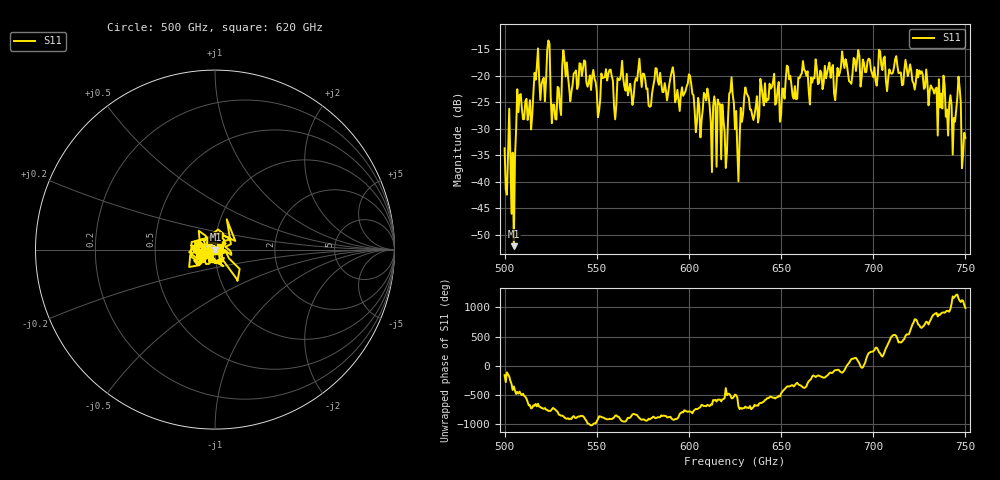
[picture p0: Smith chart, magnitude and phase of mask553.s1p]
!Created with skrf (http://scikit-rf.org).
# GHz S MA R 50.0
!freq magS11 angS11
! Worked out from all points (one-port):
!   401 points, 500 GHz to 750 GHz, reference 50 ohm
!   lowest |S11| = -52.1 dB at 505 GHz (marker M1), VSWR 1.00, Z = 50.2 + j0.0228 ohm
!   |S11| at or under -10 dB: start of sweep to end of sweep
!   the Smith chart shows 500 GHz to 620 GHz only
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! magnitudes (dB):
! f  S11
! 500 GHz  -33.7
! 505 GHz  -52.1
! 508.1 GHz  -23.6
! 513.8 GHz  -24.6
! 516.9 GHz  -20.7
! 523.8 GHz  -13.4
! 526.9 GHz  -25.4
! 531.2 GHz  -18.2
! 542.5 GHz  -18.7
! 550.6 GHz  -27.8
! 562.5 GHz  -20.8
! 578.8 GHz  -25.9
! 590.6 GHz  -19.3
! 593.8 GHz  -22.7
! 600 GHz  -19.7
! 605 GHz  -24.2
! 609.4 GHz  -24.7
! 620 GHz  -37.4
! 623.1 GHz  -20.3
! 625 GHz  -30.1
! 626.2 GHz  -33.9
! 631.2 GHz  -23.2
! 656.2 GHz  -23.8
! 687.5 GHz  -21.2
! 718.8 GHz  -20.1
! 743.8 GHz  -27.9
! 746.2 GHz  -20.2
! 750 GHz  -31.7
